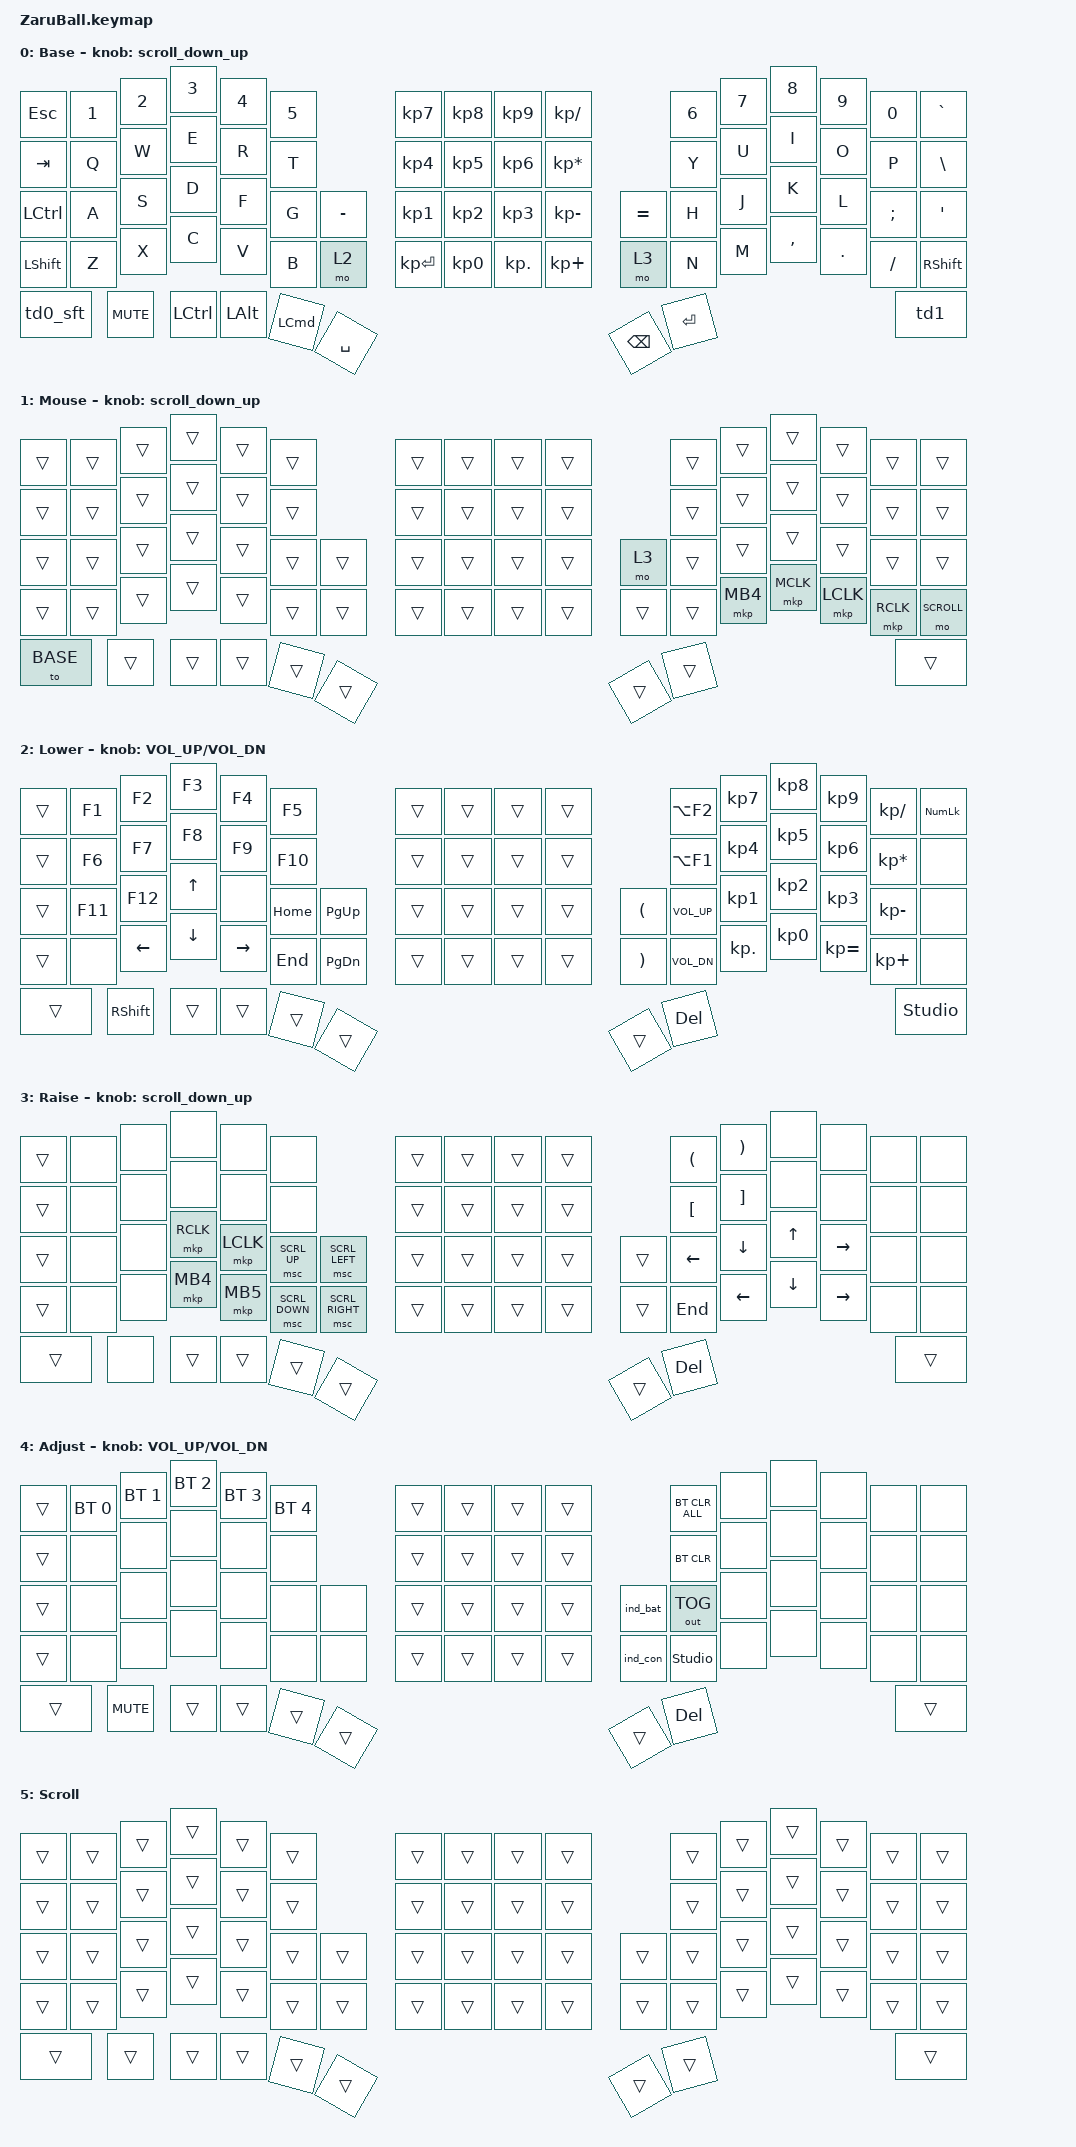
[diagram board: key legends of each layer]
//#include <dt-bindings/zmk/mouse.h>

#include <behaviors/rgbled_widget.dtsi>
#include <input/processors.dtsi>
#include <dt-bindings/zmk/input_transform.h>
#include <behaviors.dtsi>
#include <dt-bindings/zmk/bt.h>
#include <dt-bindings/zmk/keys.h>
#include <dt-bindings/zmk/outputs.h>
#include <dt-bindings/zmk/pointing.h>

#define BASE     0
#define MOUSE    1
#define LOWER    2
#define RAISE    3
#define ADJUST   4
#define SCROLL   5

// スクロール量の設定

#define ZMK_POINTING_DEFAULT_SCRL_VAL 5

/ {
    // 累積移動量が threshold を超えたときだけ Mouse 層を一時有効化
    zip_temp_layer_threshold: zip_temp_layer_threshold {
        compatible = "zmk,input-processor-temp-layer-threshold";
        #input-processor-cells = <2>;

        threshold = <30>;              // AML 発動に必要な累積移動量
        require-prior-idle-ms = <300>; // 打鍵直後はこの時間 AML を発動しない
        reset-timeout-ms = <200>;      // 無操作で累積移動量をリセット

        // クリック／スクロール操作中は AML を解除しない（Mouse 層の該当キー位置）
        // 68 (td0_sft) は含めない → Mouse 層で押すと Base に戻る
        excluded-positions = <34 35 36 37 38 43 44 45 46 47 50 51 52 53 54 55 56 61 62 63 64 65 66 67 70 71 72 73 74 75>;
    };
};

&trackball_listener {
    input-processors = <
                         &zip_xy_transform (INPUT_TRANSFORM_XY_SWAP | INPUT_TRANSFORM_Y_INVERT | INPUT_TRANSFORM_X_INVERT)
                         &zip_xy_scaler 1 1
                         &zip_y_scaler 4 5
                         &zip_temp_layer_threshold MOUSE 30000
    >;

    scroller {
        // Lower 層、または Scroll 層（Mouse 層の下段キー押し続け）でスクロール
        layers = <LOWER SCROLL>;
        input-processors = <
                            &zip_xy_transform (INPUT_TRANSFORM_XY_SWAP | INPUT_TRANSFORM_X_INVERT)
                            &zip_xy_scaler 1 20
                            &zip_xy_to_scroll_mapper
        >;
    };
};

/ {
    conditional_layers {
        compatible = "zmk,conditional-layers";

        tri_layer {
            if-layers = <2 3>;
            then-layer = <4>;
        };
    };
};

/ {
    behaviors {
        // スクロール用のbehaviorの設定

        scroll_down_up: behavior_sensor_rotate_mouse_wheel_down_up {
            compatible = "zmk,behavior-sensor-rotate";
            #sensor-binding-cells = <0>;
            bindings = <&msc SCRL_DOWN>, <&msc SCRL_UP>;

            tap-ms = <20>; // スクロールのタップ時間
        };

        td0: tap_dance_0 {
            compatible = "zmk,behavior-tap-dance";
            #binding-cells = <0>;
            tapping-term-ms = <200>;
            bindings = <&mt LALT LANG2>, <&mo RAISE>, <&mo MOUSE>;
        };

        td1: tap_dance_1 {
            compatible = "zmk,behavior-tap-dance";
            #binding-cells = <0>;
            tapping-term-ms = <200>;
            bindings = <&mt RCTL LANG1>, <&mo RAISE>, <&mo MOUSE>;
        };

        td0_sft: td0_sft {
            compatible = "zmk,behavior-mod-morph";
            #binding-cells = <0>;
            bindings = <&td0>, <&td1>;
            mods = <(MOD_LSFT|MOD_RSFT)>;
        };

        // Customed Hold-Tap for SandS

        SandS: SandS {
            compatible = "zmk,behavior-hold-tap";
            #binding-cells = <2>;
            flavor = "tap-unless-interrupted";
            tapping-term-ms = <500>;
            quick-tap-ms = <500>;
            bindings = <&kp>, <&kp>;

            display-name = "SandS";
        };
    };
};

&sl { release-after-ms = <250>; }; // time needed for double click (for mkp_exit_AML)
/ {
    macros {
        // When in AML, move to default layer when key (except mouse button) pressed

        to_layer_0: to_layer_0 {
            compatible = "zmk,behavior-macro-one-param";
            #binding-cells = <1>;
            bindings = <&tog MOUSE &macro_param_1to1 &kp MACRO_PLACEHOLDER>;
            label = "TO_layer_0";
        };

        // When LCLK pressed, exit AML (after 250ms cause by sticky layer

        mkp_exit_AML: mkp_exit_AML {
            compatible = "zmk,behavior-macro-one-param";
            #binding-cells = <1>;
            bindings =
                <&macro_press>,
                <&macro_param_1to1 &mkp MACRO_PLACEHOLDER>,
                <&macro_pause_for_release>,
                <&macro_release>,
                <&macro_param_1to1 &mkp MACRO_PLACEHOLDER>,
                <&macro_tap>,
                <&sl MOUSE>;

            label = "MKP_EXIT_AML";
        };

        macro_skater: macro_skater {
            compatible = "zmk,behavior-macro";
            #binding-cells = <0>;
            bindings = <&kp S &kp K &kp A &kp T &kp E &kp R &kp RET>;
            label = "MACRO_SKATER";
        };
    };
};

/ {
    combos {
        compatible = "zmk,combos";

        combo_skater {
            bindings = <&macro_skater>;
            key-positions = <56 61>;
        };

        // Mouse層: RCLK + SCROLL → Cmd+W（タブ閉じ）
        combo_mouse_cmd_w {
            bindings = <&kp LG(W)>;
            key-positions = <66 67>;
            layers = <MOUSE>;
        };

        // Mouse層: LCLK + RCLK → Shift+Cmd+T（タブ復元）
        combo_mouse_shift_cmd_t {
            bindings = <&kp LS(LG(T))>;
            key-positions = <65 66>;
            layers = <MOUSE>;
        };

        // Base層: L + ; → Cmd+Alt+←
        combo_base_cmd_alt_left {
            bindings = <&kp LG(LA(LEFT))>;
            key-positions = <47 48>;
            layers = <BASE>;
        };

        // Base層: ; + ' → Cmd+Alt+→
        combo_base_cmd_alt_right {
            bindings = <&kp LG(LA(RIGHT))>;
            key-positions = <48 49>;
            layers = <BASE>;
        };
    };

    keymap {
        compatible = "zmk,keymap";

        base_layer {
            display-name = "Base";
            sensor-bindings = <&scroll_down_up>;
            bindings = <
&kp ESC           &kp N1      &kp N2  &kp N3            &kp N4        &kp N5                         &kp KP_N7     &kp KP_N8  &kp KP_N9   &kp KP_DIVIDE                     &kp NUMBER_6  &kp N7  &kp N8     &kp N9   &kp N0    &kp GRAVE
&kp TAB           &kp Q       &kp W   &kp E             &kp R         &kp T                          &kp KP_N4     &kp KP_N5  &kp KP_N6   &kp KP_MULTIPLY                   &kp Y         &kp U   &kp I      &kp O    &kp P     &kp BACKSLASH
&kp LEFT_CONTROL  &kp A       &kp S   &kp D             &kp F         &kp G             &kp MINUS    &kp KP_N1     &kp KP_N2  &kp KP_N3   &kp KP_MINUS       &kp EQUAL      &kp H         &kp J   &kp K      &kp L    &kp SEMI  &kp SQT
&kp LSHFT         &kp Z       &kp X   &kp C             &kp V         &kp B             &mo 2    &kp KP_ENTER  &kp KP_N0  &kp KP_DOT  &kp KP_PLUS        &mo 3          &kp N         &kp M   &kp COMMA  &kp DOT  &kp FSLH  &kp RIGHT_SHIFT
&td0_sft          &kp C_MUTE          &kp LEFT_CONTROL  &kp LEFT_ALT  &kp LEFT_COMMAND  &kp SPACE                                                            &kp BACKSPACE  &kp RET                                             &td1
            >;
        };

        mouse_layer {
            display-name = "Mouse";
            sensor-bindings = <&scroll_down_up>;
            bindings = <
&trans  &trans  &trans  &trans  &trans  &trans              &trans  &trans  &trans  &trans              &trans  &trans     &trans     &trans     &trans     &trans
&trans  &trans  &trans  &trans  &trans  &trans              &trans  &trans  &trans  &trans              &trans  &trans     &trans     &trans     &trans     &trans
&trans  &trans  &trans  &trans  &trans  &trans  &trans      &trans  &trans  &trans  &trans    &mo 3    &trans  &trans     &trans     &trans     &trans     &trans
&trans  &trans  &trans  &trans  &trans  &trans  &trans      &trans  &trans  &trans  &trans    &trans   &trans  &mkp MB4  &mkp MCLK  &mkp LCLK  &mkp RCLK  &mo SCROLL
&to BASE  &trans         &trans  &trans  &trans  &trans                                    &trans  &trans                                      &trans
            >;
        };

        lower_layer {
            display-name = "Lower";
            sensor-bindings = <&inc_dec_kp C_VOL_UP C_VOL_DN>;
            bindings = <
&trans  &kp F1     &kp F2    &kp F3    &kp F4     &kp F5                 &trans  &trans  &trans  &trans              &kp LA(F2)    &kp KP_N7   &kp KP_N8  &kp KP_N9     &kp KP_SLASH     &kp KP_NUMLOCK
&trans  &kp F6     &kp F7    &kp F8    &kp F9     &kp F10                &trans  &trans  &trans  &trans              &kp LA(F1)    &kp KP_N4   &kp KP_N5  &kp KP_N6     &kp KP_MULTIPLY  &none
&trans  &kp F11    &kp F12   &kp UP    &none      &kp HOME  &kp PG_UP    &trans  &trans  &trans  &trans    &kp LPAR  &kp C_VOL_UP  &kp KP_N1   &kp KP_N2  &kp KP_N3     &kp KP_MINUS     &none
&trans  &none      &kp LEFT  &kp DOWN  &kp RIGHT  &kp END   &kp PG_DN    &trans  &trans  &trans  &trans    &kp RPAR  &kp C_VOL_DN  &kp KP_DOT  &kp KP_N0  &kp KP_EQUAL  &kp KP_PLUS      &none
&trans  &kp RSHFT            &trans    &trans     &trans    &trans                                         &trans    &kp DEL                                                             &studio_unlock
            >;
        };

        raise_layer {
            display-name = "Raise";
            sensor-bindings = <&scroll_down_up>;
            bindings = <
&trans  &none  &none  &none      &none      &none                              &trans  &trans  &trans  &trans            &kp LEFT_PARENTHESIS  &kp RIGHT_PARENTHESIS  &none     &none            &none  &none
&trans  &none  &none  &none      &none      &none                              &trans  &trans  &trans  &trans            &kp LEFT_BRACKET      &kp RIGHT_BRACKET      &none     &none            &none  &none
&trans  &none  &none  &mkp RCLK  &mkp LCLK  &msc SCRL_UP    &msc SCRL_LEFT     &trans  &trans  &trans  &trans    &trans  &kp LEFT_ARROW        &kp DOWN_ARROW         &kp UP    &kp RIGHT_ARROW  &none  &none
&trans  &none  &none  &mkp MB4   &mkp MB5   &msc SCRL_DOWN  &msc SCRL_RIGHT    &trans  &trans  &trans  &trans    &trans  &kp END               &kp LEFT               &kp DOWN  &kp RIGHT        &none  &none
&trans  &none         &trans     &trans     &trans          &trans                                               &trans  &kp DEL                                                                        &trans
            >;
        };

        adjust_layer {
            display-name = "Adjust";
            sensor-bindings = <&inc_dec_kp C_VOL_UP C_VOL_DN>;
            bindings = <
&trans  &bt BT_SEL 0  &bt BT_SEL 1  &bt BT_SEL 2  &bt BT_SEL 3  &bt BT_SEL 4            &trans  &trans  &trans  &trans              &bt BT_CLR_ALL  &none  &none  &none  &none  &none
&trans  &none         &none         &none         &none         &none                   &trans  &trans  &trans  &trans              &bt BT_CLR      &none  &none  &none  &none  &none
&trans  &none         &none         &none         &none         &none         &none     &trans  &trans  &trans  &trans    &ind_bat  &out OUT_TOG    &none  &none  &none  &none  &none
&trans  &none         &none         &none         &none         &none         &none     &trans  &trans  &trans  &trans    &ind_con  &studio_unlock  &none  &none  &none  &none  &none
&trans  &kp C_MUTE                  &trans        &trans        &trans        &trans                                      &trans    &kp DEL                                     &trans
            >;
        };

        // Mouse 層の下段キー押し続けで有効化。全キー transparent（下の Mouse 層に透過）
        scroll_layer {
            display-name = "Scroll";
            bindings = <
&trans  &trans  &trans  &trans  &trans  &trans              &trans  &trans  &trans  &trans              &trans  &trans  &trans  &trans  &trans  &trans
&trans  &trans  &trans  &trans  &trans  &trans              &trans  &trans  &trans  &trans              &trans  &trans  &trans  &trans  &trans  &trans
&trans  &trans  &trans  &trans  &trans  &trans  &trans      &trans  &trans  &trans  &trans    &trans  &trans  &trans  &trans  &trans  &trans  &trans
&trans  &trans  &trans  &trans  &trans  &trans  &trans      &trans  &trans  &trans  &trans    &trans  &trans  &trans  &trans  &trans  &trans  &trans
&trans  &trans         &trans  &trans  &trans  &trans                                    &trans  &trans                                      &trans
            >;
        };

        // Extra layer can be added in ZMK STUDIO

        extra2 { status = "reserved"; };
    };
};
